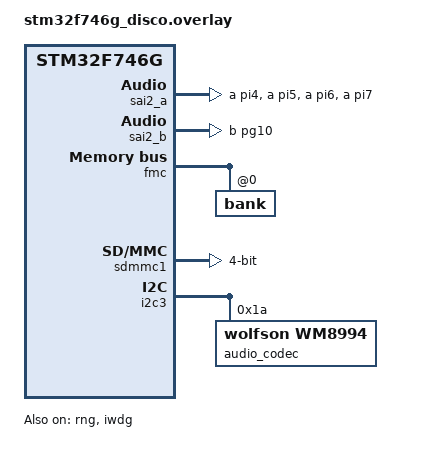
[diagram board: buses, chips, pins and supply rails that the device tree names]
/*
 * Copyright (C) 2026 Kamil Lulko <kamil.lulko@gmail.com>
 *
 * SPDX-License-Identifier: GPL-3.0-or-later
 *
 * This file is part of oveRTOS.
 */

#include <zephyr/dt-bindings/dma/stm32_dma.h>
#include <dt-bindings/clock/stm32f7_sai_clock.h>
#include <zephyr/dt-bindings/memory-controller/stm32-fmc-sdram.h>

/*
 * FMC read-pipe delay = 1. At the 108 MHz FMC clock RPIPE=0 leaves no read-capture margin: once the
 * LTDC continuously burst-reads the framebuffer out of this SDRAM, CPU cache-line fills and other
 * SDRAM reads go marginal. Every build that drives the panel needs it, native LVGL as well as the
 * Linux personality; FreeRTOS applies the same in bsp_sdram_fixup() and NuttX in board patch 0016.
 * Here it is the st,sdram-control RPIPE field (index 7), which the memc driver programs into
 * SDCR1[14:13] during init, before the LTDC starts fetching. The SDTR timing and refresh stay stock.
 */
&fmc {
	sdram {
		bank@0 {
			st,sdram-control = <STM32_FMC_SDRAM_NC_8
					    STM32_FMC_SDRAM_NR_12
					    STM32_FMC_SDRAM_MWID_16
					    STM32_FMC_SDRAM_NB_4
					    STM32_FMC_SDRAM_CAS_2
					    STM32_FMC_SDRAM_SDCLK_PERIOD_2
					    STM32_FMC_SDRAM_RBURST_ENABLE
					    STM32_FMC_SDRAM_RPIPE_1>;
		};
	};
};

/* ove_watchdog drives the IWDG through the watchdog0 alias. */
/ {
	aliases {
		watchdog0 = &iwdg;
	};
};

/* Hardware entropy for the network stack and the Linux personality's CSPRNG
 * (ENTROPY_STM32_RNG); the upstream board leaves the RNG disabled. */
&rng {
	status = "okay";
};

&iwdg {
	status = "okay";
};

/* SRAM1 + SRAM2, contiguous from 0x20010000 (240 KB + 16 KB). The 64 KB DTCM
 * (0x20000000-0x2000FFFF) is a separate region — must not overlap. */
&sram0 {
	reg = <0x20010000 0x40000>;
};

/* Define SAI2 Block A and B nodes (not yet in upstream Zephyr) */
/ {
	soc {
		sai2_a: sai2@40015c04 {
			compatible = "st,stm32-sai";
			#address-cells = <1>;
			#size-cells = <0>;
			reg = <0x40015c04 0x20>;
			clocks = <&rcc STM32_CLOCK(APB2, 23)>;
			dmas = <&dma2 4 3 (STM32_DMA_MODE_NORMAL |
				STM32_DMA_PRIORITY_HIGH |
				STM32_DMA_16BITS) 0>;
			status = "disabled";
		};

		sai2_b: sai2@40015c24 {
			compatible = "st,stm32-sai";
			#address-cells = <1>;
			#size-cells = <0>;
			reg = <0x40015c24 0x20>;
			clocks = <&rcc STM32_CLOCK(APB2, 23)>;
			dmas = <&dma2 7 0 (STM32_DMA_MODE_NORMAL |
				STM32_DMA_PRIORITY_HIGH |
				STM32_DMA_16BITS) 0>;
			status = "disabled";
		};
	};
};

&dma2 {
	status = "okay";
};

&sdmmc1 {
	dmas = <&dma2 6 4 0x30000 0x00>, <&dma2 3 4 0x30000 0x00>;
	dma-names = "tx", "rx";
	/* 48 MHz / (0 + 2) = 24 MHz, as on FreeRTOS. A 2 MHz clock and
	 * single-sector transfers were used while the board froze under
	 * sustained SQLite rewrites; that freeze was a speculative read of the
	 * QSPI window beyond the flash (board patch 0005), not the SD path. */
	clk-div = <0>;
	/* All four data lines. The binding defaults to one line, and the HAL's
	 * own switch probes the SCR with a loop that fails at low clocks, so the
	 * driver sends ACMD6 itself (patches/0004-sdmmc-direct-wide-bus-switch.patch). */
	bus-width = <4>;
	/delete-property/ cd-gpios;
};

/* Configure PLLSAI for audio clocking (approximate 44.1k family)
 * Goal: produce MCLK near 11.2896 MHz (256 * 44.1k = 11.2896 MHz).
 * Exact 11.2896 cannot be produced with HSE=25MHz and integer dividers,
 * so we choose PLLSAI N = 361 and dividers 8 and 4 to get:
 * PLLSAI_VCO = (25MHz / 25) * 361 = 361 MHz
 * SAI clock = 361 / 8 / 4 = 11.28125 MHz
 * Resulting sample rate = 11.28125 / 256 = 44032.22656 Hz (approx. 44.03 kHz)
 */
&pllsai {
	/* Zephyr 4.4.0 reworked the st,stm32fx-pll-clock binding: div-divq was
	 * renamed to post-div-q, and div-m + clocks are now required.  div-m
	 * is shared between PLL/PLLSAI/PLLI2S on F7, so it must match &pll's. */
	div-m = <25>;
	mul-n = <361>;
	div-q = <8>;
	post-div-q = <4>;
	clocks = <&clk_hse>;
	status = "okay";
};

i2s_tx: &sai2_a {
	status = "okay";
	pinctrl-0 = <&sai2_mclk_a_pi4 &sai2_sck_a_pi5
		     &sai2_sd_a_pi6 &sai2_fs_a_pi7>;
	pinctrl-names = "default";
	clocks = <&rcc STM32_CLOCK(APB2, 23)>,
		 <&rcc STM32_SRC_PLLSAI_POST_Q SAI2_SEL(0)>;
	dma-names = "tx";
	mclk-enable;
	mclk-divider = "div-256";
};

i2s_rx: &sai2_b {
	status = "okay";
	pinctrl-0 = <&sai2_sd_b_pg10>;
	pinctrl-names = "default";
	dma-names = "rx";
	/* SAI2_B must be synchronous with SAI2_A since it shares clocks */
	synchronous;
};

&i2c3 {
audio_codec: wm8994@1a {
	compatible = "wolfson,wm8994";
	reg = <0x1a>;
	#sound-dai-cells = <0>;
	status = "okay";
};
};
